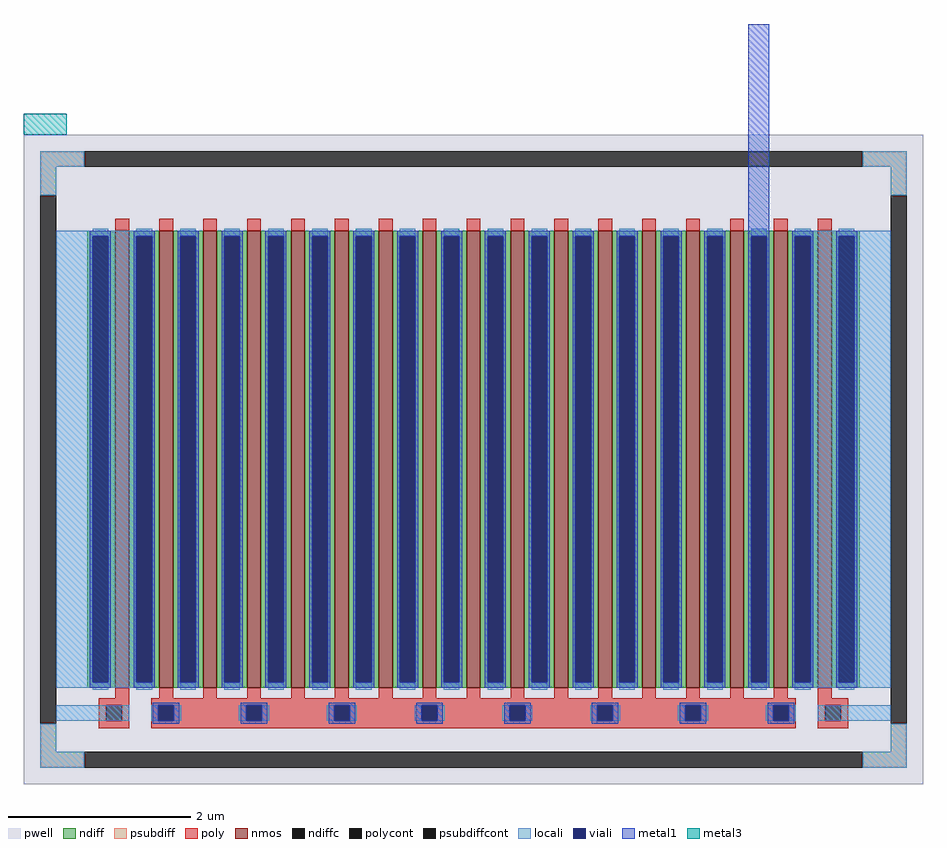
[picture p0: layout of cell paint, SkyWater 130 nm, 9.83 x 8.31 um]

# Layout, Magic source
magic
tech sky130A
magscale 1 2
<< locali >>
rect -61 171 115 1171
rect 1589 171 1765 1171
rect -61 99 99 133
rect 1605 99 1765 133
<< metal1 >>
rect 1453 1171 1499 1623
<< metal3 >>
rect -131 1381 -37 1427
use sky130_fd_pr__nfet_01v8_YN9FL4  sky130_fd_pr__nfet_01v8_UDPJLN_0
transform 1 0 852 0 1 671
box -983 -710 983 710
<< end >>

# cell sky130_fd_pr__nfet_01v8_YN9FL4: kit device sky130_fd_pr__nfet_01v8, w 5 l 0.150 m 1 nf 17 diffcov 100 polycov 100 guard 1 glc 1 grc 1 gtc 1 gbc 1 tbcov 100 rlcov 100 topc 1 botc 1 poverlap 0 doverlap 1 lmin 0.15 wmin 0.42 compatible {sky130_fd_pr__nfet_01v8 sky130_fd_pr__nfet_01v8_lvt sky130_fd_bs_flash__special_sonosfet_star sky130_fd_pr__nfet_g5v0d10v5 sky130_fd_pr__nfet_05v0_nvt sky130_fd_pr__nfet_03v3_nvt} full_metal 1 viasrc 100 viadrn 100 viagate 100 viagb 0 viagr 0 viagl 0 viagt 0
